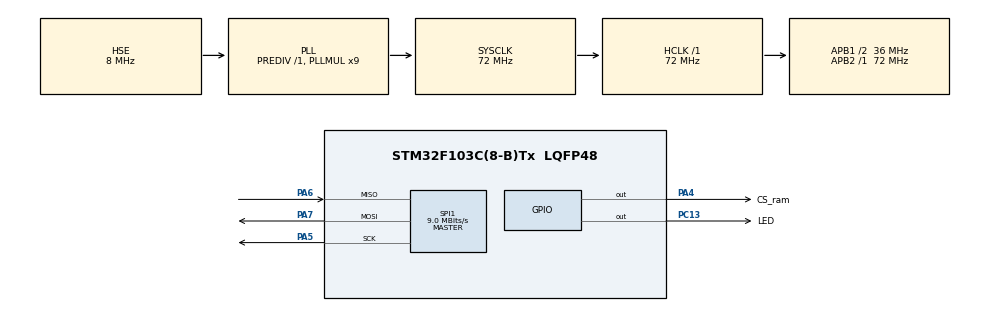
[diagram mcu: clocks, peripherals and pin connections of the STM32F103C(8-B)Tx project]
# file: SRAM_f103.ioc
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Mcu.Family=STM32F1
Mcu.Name=STM32F103C(8-B)Tx
Mcu.Package=LQFP48
NVIC.PriorityGroup=NVIC_PRIORITYGROUP_4
PA13.Mode=Trace_Asynchronous_SW
PA13.Signal=SYS_JTMS-SWDIO
PA14.Mode=Trace_Asynchronous_SW
PA14.Signal=SYS_JTCK-SWCLK
PA4.GPIO_Label=CS_ram
PA4.Signal=GPIO_Output
PA5.Mode=Full_Duplex_Master
PA5.Signal=SPI1_SCK
PA6.Mode=Full_Duplex_Master
PA6.Signal=SPI1_MISO
PA7.Mode=Full_Duplex_Master
PA7.Signal=SPI1_MOSI
PB3.Mode=Trace_Asynchronous_SW
PB3.Signal=SYS_JTDO-TRACESWO
PC13-TAMPER-RTC.GPIO_Label=LED
PC13-TAMPER-RTC.Signal=GPIO_Output
PC14-OSC32_IN.Mode=LSE-External-Oscillator
PC14-OSC32_IN.Signal=RCC_OSC32_IN
PC15-OSC32_OUT.Mode=LSE-External-Oscillator
PC15-OSC32_OUT.Signal=RCC_OSC32_OUT
PD0-OSC_IN.Mode=HSE-External-Oscillator
PD0-OSC_IN.Signal=RCC_OSC_IN
PD1-OSC_OUT.Mode=HSE-External-Oscillator
PD1-OSC_OUT.Signal=RCC_OSC_OUT
ProjectManager.HeapSize=0x200
ProjectManager.StackSize=0x400
ProjectManager.TargetToolchain=STM32CubeIDE
RCC.AHBFreq_Value=72000000
RCC.APB1CLKDivider=RCC_HCLK_DIV2
RCC.APB1Freq_Value=36000000
RCC.APB1TimFreq_Value=72000000
RCC.APB2Freq_Value=72000000
RCC.APB2TimFreq_Value=72000000
RCC.HCLKFreq_Value=72000000
RCC.PLLMUL=RCC_PLL_MUL9
RCC.PLLSourceVirtual=RCC_PLLSOURCE_HSE
RCC.SYSCLKFreq_VALUE=72000000
RCC.SYSCLKSource=RCC_SYSCLKSOURCE_PLLCLK
RCC.USBFreq_Value=72000000
SPI1.BaudRatePrescaler=SPI_BAUDRATEPRESCALER_8
SPI1.CalculateBaudRate=9.0 MBits/s
SPI1.Direction=SPI_DIRECTION_2LINES
SPI1.Mode=SPI_MODE_MASTER
SPI1.VirtualType=VM_MASTER
VP_RTC_VS_RTC_Activate.Mode=RTC_Enabled
board=custom

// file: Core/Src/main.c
/* USER CODE BEGIN Header */
/**
 ******************************************************************************
 * @file           : main.c
 * @brief          : Main program body
 ******************************************************************************
 * @attention
 *
 * Copyright (c) 2023 STMicroelectronics.
 * All rights reserved.
 *
 * This software is licensed under terms that can be found in the LICENSE file
 * in the root directory of this software component.
 * If no LICENSE file comes with this software, it is provided AS-IS.
 *
 ******************************************************************************
 */
/* USER CODE END Header */
#include "main.h"

/* USER CODE BEGIN Includes */
#include "main.h"
#include "MojeFunkce.h"
#include "MojeMacro.h"
#include "SRAM_23LC.h"
/* USER CODE END Includes */

/* USER CODE BEGIN PTD */
SRAM23_HandleTypeDef hsram;
/* USER CODE END PTD */

RTC_HandleTypeDef hrtc;

SPI_HandleTypeDef hspi1;

void SystemClock_Config(void);
static void MX_GPIO_Init(void);
static void MX_RTC_Init(void);
static void MX_SPI1_Init(void);

int main(void)
{

  /* MCU Configuration--------------------------------------------------------*/

  /* Reset of all peripherals, Initializes the Flash interface and the Systick. */
  HAL_Init();

  /* Configure the system clock */
  SystemClock_Config();

  /* Initialize all configured peripherals */
  MX_GPIO_Init();
  MX_RTC_Init();
  MX_SPI1_Init();

  /* Infinite loop */
  /* USER CODE BEGIN WHILE */
	printf("start\r\n");
	SRAM_23xx_init(&hsram, &hspi1, CS_ram_GPIO_Port, CS_ram_Pin, SRAM_23K256);
	u8 buff[10000];
	u8 c = 0;
	for (u16 a = 0; a < 10000; a++){
		buff[a] = c++;
	}
	SRAM_23xx_writeBlock(&hsram, 0, 10000, buff);
	memset(buff, 0, 10000);
	SRAM_23xx_readBlock(&hsram, 0, 10000, buff);
	for (u16 a = 0; a < 10000; a++){
		printf("%u READ: %d\r\n", a, buff[a]);
	}
	for (u16 a = 0; a < 10000; a++){
		SRAM_23xx_writeByte(&hsram, a, c++);
		printf("%u READ BYTE: %d\r\n", a, SRAM_23xx_readByte(&hsram, a));
	}
	printf("Test PAGE\r\n");
	char text[] = { "Testovaci text ktery se zapise" };
	SRAM_23xx_writePage(&hsram, 0, sizeof(text), (u8*) text);
	memset(text, 0, sizeof(text));
	SRAM_23xx_readPage(&hsram, 0, sizeof(text), (u8*) text);
	printf("Test PAGE READ\r\n");
	printf(text);printf("\r\n");
	while (1)
	{

		delay(10);
    /* USER CODE END WHILE */

	}
}

void SystemClock_Config(void)
{
  RCC_OscInitTypeDef RCC_OscInitStruct = {0};
  RCC_ClkInitTypeDef RCC_ClkInitStruct = {0};
  RCC_PeriphCLKInitTypeDef PeriphClkInit = {0};

  /** Initializes the RCC Oscillators according to the specified parameters
  * in the RCC_OscInitTypeDef structure.
  */
  RCC_OscInitStruct.OscillatorType = RCC_OSCILLATORTYPE_LSI|RCC_OSCILLATORTYPE_HSE;
  RCC_OscInitStruct.HSEState = RCC_HSE_ON;
  RCC_OscInitStruct.HSEPredivValue = RCC_HSE_PREDIV_DIV1;
  RCC_OscInitStruct.HSIState = RCC_HSI_ON;
  RCC_OscInitStruct.LSIState = RCC_LSI_ON;
  RCC_OscInitStruct.PLL.PLLState = RCC_PLL_ON;
  RCC_OscInitStruct.PLL.PLLSource = RCC_PLLSOURCE_HSE;
  RCC_OscInitStruct.PLL.PLLMUL = RCC_PLL_MUL9;
  if (HAL_RCC_OscConfig(&RCC_OscInitStruct) != HAL_OK)
  {
    Error_Handler();
  }

  /** Initializes the CPU, AHB and APB buses clocks
  */
  RCC_ClkInitStruct.ClockType = RCC_CLOCKTYPE_HCLK|RCC_CLOCKTYPE_SYSCLK
                              |RCC_CLOCKTYPE_PCLK1|RCC_CLOCKTYPE_PCLK2;
  RCC_ClkInitStruct.SYSCLKSource = RCC_SYSCLKSOURCE_PLLCLK;
  RCC_ClkInitStruct.AHBCLKDivider = RCC_SYSCLK_DIV1;
  RCC_ClkInitStruct.APB1CLKDivider = RCC_HCLK_DIV2;
  RCC_ClkInitStruct.APB2CLKDivider = RCC_HCLK_DIV1;

  if (HAL_RCC_ClockConfig(&RCC_ClkInitStruct, FLASH_LATENCY_2) != HAL_OK)
  {
    Error_Handler();
  }
  PeriphClkInit.PeriphClockSelection = RCC_PERIPHCLK_RTC;
  PeriphClkInit.RTCClockSelection = RCC_RTCCLKSOURCE_LSI;
  if (HAL_RCCEx_PeriphCLKConfig(&PeriphClkInit) != HAL_OK)
  {
    Error_Handler();
  }
}

static void MX_RTC_Init(void)
{

  /** Initialize RTC Only
  */
  hrtc.Instance = RTC;
  hrtc.Init.AsynchPrediv = RTC_AUTO_1_SECOND;
  hrtc.Init.OutPut = RTC_OUTPUTSOURCE_ALARM;
  if (HAL_RTC_Init(&hrtc) != HAL_OK)
  {
    Error_Handler();
  }

}

static void MX_SPI1_Init(void)
{

  /* SPI1 parameter configuration*/
  hspi1.Instance = SPI1;
  hspi1.Init.Mode = SPI_MODE_MASTER;
  hspi1.Init.Direction = SPI_DIRECTION_2LINES;
  hspi1.Init.DataSize = SPI_DATASIZE_8BIT;
  hspi1.Init.CLKPolarity = SPI_POLARITY_LOW;
  hspi1.Init.CLKPhase = SPI_PHASE_1EDGE;
  hspi1.Init.NSS = SPI_NSS_SOFT;
  hspi1.Init.BaudRatePrescaler = SPI_BAUDRATEPRESCALER_8;
  hspi1.Init.FirstBit = SPI_FIRSTBIT_MSB;
  hspi1.Init.TIMode = SPI_TIMODE_DISABLE;
  hspi1.Init.CRCCalculation = SPI_CRCCALCULATION_DISABLE;
  hspi1.Init.CRCPolynomial = 10;
  if (HAL_SPI_Init(&hspi1) != HAL_OK)
  {
    Error_Handler();
  }

}

static void MX_GPIO_Init(void)
{
  GPIO_InitTypeDef GPIO_InitStruct = {0};

  /* GPIO Ports Clock Enable */
  __HAL_RCC_GPIOC_CLK_ENABLE();
  __HAL_RCC_GPIOD_CLK_ENABLE();
  __HAL_RCC_GPIOA_CLK_ENABLE();
  __HAL_RCC_GPIOB_CLK_ENABLE();

  /*Configure GPIO pin Output Level */
  HAL_GPIO_WritePin(LED_GPIO_Port, LED_Pin, GPIO_PIN_RESET);

  /*Configure GPIO pin Output Level */
  HAL_GPIO_WritePin(CS_ram_GPIO_Port, CS_ram_Pin, GPIO_PIN_RESET);

  /*Configure GPIO pin : LED_Pin */
  GPIO_InitStruct.Pin = LED_Pin;
  GPIO_InitStruct.Mode = GPIO_MODE_OUTPUT_PP;
  GPIO_InitStruct.Pull = GPIO_NOPULL;
  GPIO_InitStruct.Speed = GPIO_SPEED_FREQ_LOW;
  HAL_GPIO_Init(LED_GPIO_Port, &GPIO_InitStruct);

  /*Configure GPIO pin : CS_ram_Pin */
  GPIO_InitStruct.Pin = CS_ram_Pin;
  GPIO_InitStruct.Mode = GPIO_MODE_OUTPUT_PP;
  GPIO_InitStruct.Pull = GPIO_NOPULL;
  GPIO_InitStruct.Speed = GPIO_SPEED_FREQ_LOW;
  HAL_GPIO_Init(CS_ram_GPIO_Port, &GPIO_InitStruct);

}

void Error_Handler(void)
{
	__disable_irq();
	while (1)
	{
	}
}
